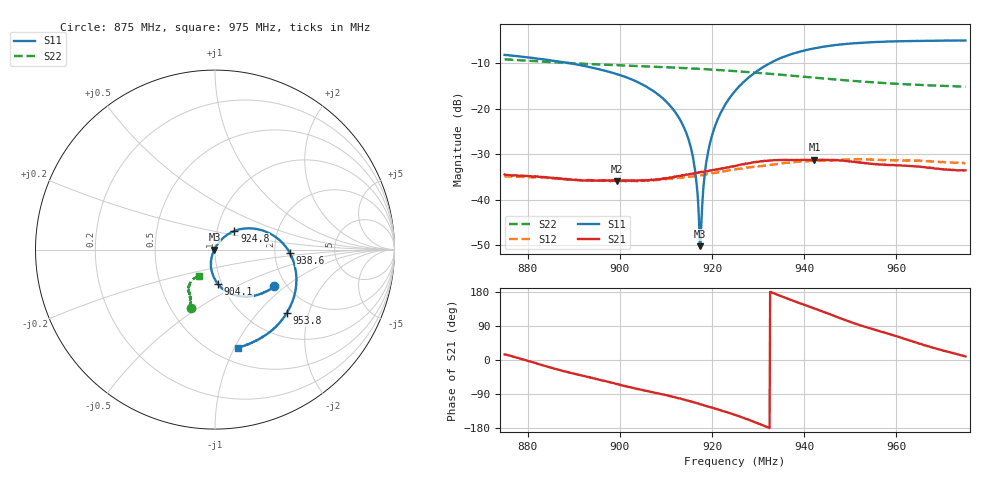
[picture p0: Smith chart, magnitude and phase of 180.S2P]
! C:\Users\rflab\Downloads\Lab5_KD_ZW\Q3\180.S2P
! Touchstone 1.1 file saved by VNA.EXE V1.65 (www.ke5fx.com/gpib/readme.htm)
! 11/18/2024 10:31:11 PM
!  Source: HEWLETT PACKARD,8753D,0,6.14
!  Min freq: 8.750000E+008 Hz
!  Max freq: 9.750200E+008 Hz
!  Points: 801
!  Params: S11 S21 S12 S22
# GHZ S MA R 50
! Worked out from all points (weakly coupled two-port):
!   801 points, 875 MHz to 975 MHz, reference 50 ohm
!   highest |S21| = -31.22 dB at 942.3 MHz (marker M1); lowest = -35.9 dB at 899.4 MHz (marker M2)
!   lowest |S11| = -50.3 dB at 917.4 MHz (marker M3), VSWR 1.01, Z = 49.7 - j0.00341 ohm
!   |S11| at or under -10 dB: 889 MHz to 932.6 MHz (43.58 MHz wide, 4.78 % of centre)
!   |S22| runs from -15.2 to -9.2 dB; largest |S21 - S12| = 0.0069
!   S11 on the Smith chart (normalised r, x): 875 MHz: 1.74, -0.84; 904.1 MHz: 0.96, -0.38; 924.8 MHz: 1.21, +0.26; 938.6 MHz: 2.42, -0.11; 953.8 MHz: 1.47, -1.45; 975 MHz: 0.65, -1.03
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0.875  0.3893 -31.6  0.01886 14.6  0.01807 24.5  0.3484 -112.1
0.8917534  0.2985 -60.9  0.01619 -41.0  0.0163 -35.0  0.3117 -116.0
0.8993799  0.239 -75.5  0.01599 -63.4  0.01612 -59.4  0.3006 -117.6
0.9041308  0.1927 -85.1  0.01619 -76.9  0.0161 -72.7  0.2935 -118.5
0.9083817  0.1419 -94.9  0.01664 -88.1  0.01642 -84.5  0.2875 -119.7
0.9122575  0.08795 -105.3  0.01788 -99.3  0.01707 -97.4  0.2817 -120.6
0.914883  0.04651 -113.7  0.01887 -107.4  0.01776 -105.0  0.2779 -121.5
0.9162583  0.02259 -121.6  0.01929 -112.2  0.01792 -109.7  0.2754 -122.0
0.9173835  0.003068 -179.4  0.02002 -116.3  0.01843 -113.3  0.2726 -122.2
0.9177585  0.006405 91.2  0.02003 -117.6  0.01853 -114.4  0.2723 -122.4
0.9187587  0.02533 67.2  0.02058 -121.5  0.01882 -117.1  0.271 -122.7
0.919884  0.04794 60.6  0.02083 -124.8  0.01919 -121.0  0.268 -122.9
0.9217593  0.08668 53.9  0.02153 -132.4  0.02025 -127.7  0.2649 -123.6
0.9247599  0.1504 43.8  0.02315 -143.7  0.02133 -139.4  0.2581 -124.3
0.92501  0.1557 42.9  0.02332 -144.9  0.02149 -140.2  0.2582 -124.6
0.9311362  0.2868 21.9  0.02653 -172.9  0.02344 -165.2  0.2441 -125.9
0.9386377  0.4165 -2.6  0.02714 151.5  0.02596 163.4  0.2275 -126.9
0.9417633  0.4552 -11.9  0.02744 137.9  0.02642 149.2  0.2197 -127.1
0.9422635  0.4596 -13.3  0.02748 135.9  0.02653 147.3  0.2184 -127.1
0.9537657  0.5333 -41.6  0.02503 85.6  0.02777 98.1  0.196 -125.7
0.9583917  0.5469 -50.7  0.02405 68.9  0.0271 78.8  0.1894 -124.9
0.97502  0.5611 -76.6  0.02092 9.3  0.02504 13.4  0.174 -121.0
